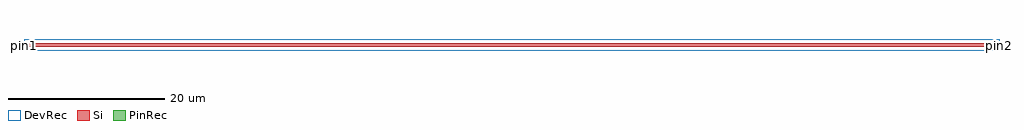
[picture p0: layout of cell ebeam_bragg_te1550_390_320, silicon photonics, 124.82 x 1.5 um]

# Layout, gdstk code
import gdstk
lib = gdstk.Library(unit=1e-6, precision=1e-09)
def R(c, l, rs):  # rectangles x0, y0, x1, y1
    for r in rs: c.add(gdstk.rectangle(r[:2], r[2:], *l))
def A(c, l, x, y, w, h, nx, ny, dx, dy):  # array of equal rectangles
    R(c, l, [(x+i*dx, y+j*dy, x+i*dx+w, y+j*dy+h) for i in range(nx) for j in range(ny)])
Si = (1, 0)
PinRec = (1, 10)
DevRec = (68, 0)

ebeam_bragg_te1550_390_3 = lib.new_cell('ebeam_bragg_te1550_390_320')
A(ebeam_bragg_te1550_390_3, Si, 0, -0.255, 0.16, 0.255, 390, 2, 0.32, 0.255)
A(ebeam_bragg_te1550_390_3, Si, 0.16, -0.245, 0.16, 0.245, 390, 2, 0.32, 0.245)
R(ebeam_bragg_te1550_390_3, DevRec, [(0,-0.75,124.8,0.75)])
ebeam_bragg_te1550_390_3.add(gdstk.FlexPath([(0.01,0),(-0.01,0)], 0.5, ends="flush", simple_path=True, layer=1, datatype=10))  # PinRec
ebeam_bragg_te1550_390_3.add(gdstk.FlexPath([(124.79,0),(124.81,0)], 0.5, ends="flush", simple_path=True, layer=1, datatype=10))  # PinRec
ebeam_bragg_te1550_390_3.add(gdstk.Label('pin1', (0,0), layer=1, texttype=10))
ebeam_bragg_te1550_390_3.add(gdstk.Label('pin2', (124.8,0), layer=1, texttype=10))
ebeam_bragg_te1550_390_3.add(gdstk.Label('Lumerical_INTERCONNECT_library=Design kits/ebeam', (0,0), layer=68, texttype=0))
ebeam_bragg_te1550_390_3.add(gdstk.Label('Component=ebeam_bragg_te1550', (12.48,0), layer=68, texttype=0))
ebeam_bragg_te1550_390_3.add(gdstk.Label('Spice_param:number_of_periods=390 grating_period=3.2e-07 corrugation_width=1e-08 misalignment=0 sinusoidal=0', (13.866,0), layer=68, texttype=0))

lib.write_gds('ebeam_bragg_te1550_390_320.gds')
